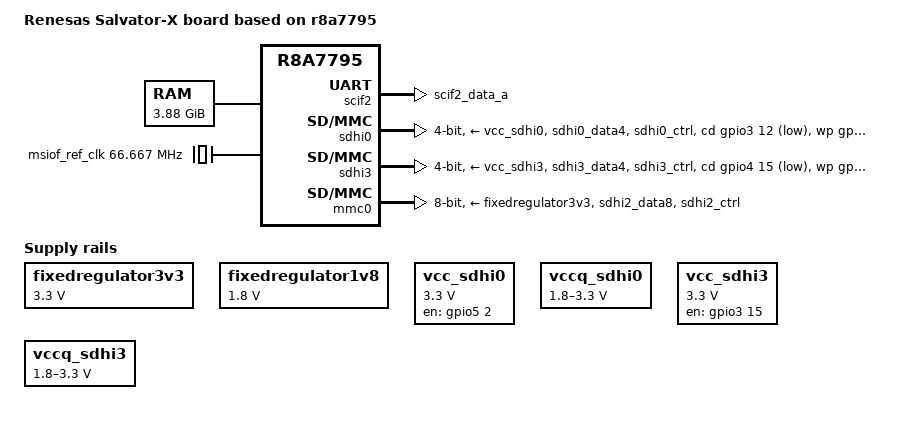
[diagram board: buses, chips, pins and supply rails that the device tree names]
/*
 * Device Tree Source for the Salvator-X board
 *
 * Copyright (C) 2015-2016 Renesas Electronics Corp.
 *
 * This file is licensed under the terms of the GNU General Public License
 * version 2.  This program is licensed "as is" without any warranty of any
 * kind, whether express or implied.
 */

/*
 * SSI-AK4613
 *
 * This command is required when Playback/Capture
 *
 *	amixer set "DVC Out" 100%
 *	amixer set "DVC In" 100%
 *
 * You can use Mute
 *
 *	amixer set "DVC Out Mute" on
 *	amixer set "DVC In Mute" on
 *
 * You can use Volume Ramp
 *
 *	amixer set "DVC Out Ramp Up Rate"   "0.125 dB/64 steps"
 *	amixer set "DVC Out Ramp Down Rate" "0.125 dB/512 steps"
 *	amixer set "DVC Out Ramp" on
 *	aplay xxx.wav &
 *	amixer set "DVC Out"  80%  // Volume Down
 *	amixer set "DVC Out" 100%  // Volume Up
 */

/dts-v1/;
#include "r8a7795.dtsi"
#include <dt-bindings/gpio/gpio.h>

/ {
	model = "Renesas Salvator-X board based on r8a7795";
	compatible = "renesas,salvator-x", "renesas,r8a7795";

	aliases {
		serial0 = &scif2;
	};

	chosen {
		bootargs = "dom0_mem=256M console=dtuart dtuart=serial0 dom0_max_vcpus=1 bootscrub=0 flask_enforcing=1";
		xen,dom0-bootargs = "console=hvc0 root=/dev/mmcblk1p1 rw rootwait rootfstype=ext4 ignore_loglevel";
		modules {
			#address-cells = <2>;
			#size-cells = <2>;
			module@1 {
				compatible = "xen,linux-zimage", "xen,multiboot-module";
				reg = <0x0 0x7a000000 0x0 0x02000000>;
			};
			module@2 {
				compatible = "xen,xsm-policy", "xen,multiboot-module";
				reg = <0x0 0x7c000000 0x0 0x10000>;
			};
		};
	};

	hypervisor {
		compatible = "xen,xen-4.6", "xen,xen";
		reg = <0x4b000000 0x20000 0x0 0x0>;
		interrupts = <1 15 0xf08>;
	};

	psci {
		compatible = "arm,psci-1.0";
		method = "smc";
		cpu_on = <2>;
	};

	soc{
		rst: rst@e6160000 {
			reg = <0 0xe6160000 0 0x1000>;
		};

		pll: pll@fff00000 {
			reg = <0 0xfff00000 0 0x1000>;
		};

		avs: avs@e60a0000 {
			reg = <0 0xe60a0000 0 0x1000>;
		};

		lossy: lossy@47fd7000 {
			reg = <0 0x47fd7000 0 0x1000>;
		};
	};

	memory@48000000 {
		device_type = "memory";
		/* first 128MB is reserved for secure area. */
		reg = <0x0 0x48000000 0x0 0x38000000>,
		      <0x5 0x00000000 0x0 0x40000000>,
		      <0x6 0x00000000 0x0 0x40000000>,
		      <0x7 0x00000000 0x0 0x40000000>;
	};

	fixedregulator3v3: regulator@0 {
		compatible = "regulator-fixed";
		regulator-name = "fixed-3.3V";
		regulator-min-microvolt = <3300000>;
		regulator-max-microvolt = <3300000>;
		regulator-boot-on;
		regulator-always-on;
	};

	fixedregulator1v8: regulator@1 {
		compatible = "regulator-fixed";
		regulator-name = "fixed-1.8V";
		regulator-min-microvolt = <1800000>;
		regulator-max-microvolt = <1800000>;
		regulator-boot-on;
		regulator-always-on;
	};

	vcc_sdhi0: regulator@2 {
		compatible = "regulator-fixed";

		regulator-name = "SDHI0 Vcc";
		regulator-min-microvolt = <3300000>;
		regulator-max-microvolt = <3300000>;

		gpio = <&gpio5 2 GPIO_ACTIVE_HIGH>;
		enable-active-high;
	};

	vccq_sdhi0: regulator@3 {
		compatible = "regulator-gpio";

		regulator-name = "SDHI0 VccQ";
		regulator-min-microvolt = <1800000>;
		regulator-max-microvolt = <3300000>;

		gpios = <&gpio5 1 GPIO_ACTIVE_HIGH>;
		gpios-states = <1>;
		states = <3300000 1
			  1800000 0>;
	};

	vcc_sdhi3: regulator@4 {
		compatible = "regulator-fixed";

		regulator-name = "SDHI3 Vcc";
		regulator-min-microvolt = <3300000>;
		regulator-max-microvolt = <3300000>;

		gpio = <&gpio3 15 GPIO_ACTIVE_HIGH>;
		enable-active-high;
	};

	vccq_sdhi3: regulator@5 {
		compatible = "regulator-gpio";

		regulator-name = "SDHI3 VccQ";
		regulator-min-microvolt = <1800000>;
		regulator-max-microvolt = <3300000>;

		gpios = <&gpio3 14 GPIO_ACTIVE_HIGH>;
		gpios-states = <1>;
		states = <3300000 1
			  1800000 0>;
	};
	msiof_ref_clk: msiof-ref-clock {
		compatible = "fixed-clock";
		#clock-cells = <0>;
		clock-frequency = <66666666>;
	};
};

&extal_clk {
	clock-frequency = <16666666>;
};

&extalr_clk {
	clock-frequency = <32768>;
};

&pfc {
	pinctrl-0 = <&scif_clk_pins>;
	pinctrl-names = "default";

	scif2_pins: scif2 {
		groups = "scif2_data_a";
		function = "scif2";
	};
	scif_clk_pins: scif_clk {
		groups = "scif_clk_a";
		function = "scif_clk";
	};

	sdhi0_pins_3v3: sd0_3v3 {
		groups = "sdhi0_data4", "sdhi0_ctrl";
		function = "sdhi0";
		power-source = <3300>;
	};

	sdhi0_pins_1v8: sd0_1v8 {
		groups = "sdhi0_data4", "sdhi0_ctrl";
		function = "sdhi0";
		power-source = <1800>;
	};

	sdhi3_pins_3v3: sd3_3v3 {
		groups = "sdhi3_data4", "sdhi3_ctrl";
		function = "sdhi3";
		power-source = <3300>;
	};

	sdhi3_pins_1v8: sd3_1v8 {
		groups = "sdhi3_data4", "sdhi3_ctrl";
		function = "sdhi3";
		power-source = <1800>;
	};

	mmc0_pins_1v8: mmc0_1v8 {
		groups = "sdhi2_data8", "sdhi2_ctrl";
		function = "sdhi2";
		power-source = <1800>;
	};
};

&scif2 {
	pinctrl-0 = <&scif2_pins>;
	pinctrl-names = "default";

	status = "okay";
};

&scif_clk {
	clock-frequency = <14745600>;
	status = "okay";
};


&sdhi0 {
	pinctrl-0 = <&sdhi0_pins_3v3>;
	pinctrl-1 = <&sdhi0_pins_1v8>;
	pinctrl-names = "default", "state_uhs";

	vmmc-supply = <&vcc_sdhi0>;
	vqmmc-supply = <&vccq_sdhi0>;
	cd-gpios = <&gpio3 12 GPIO_ACTIVE_LOW>;
	wp-gpios = <&gpio3 13 GPIO_ACTIVE_HIGH>;
	bus-width = <4>;
	status = "okay";
};

&sdhi3 {
	pinctrl-0 = <&sdhi3_pins_3v3>;
	pinctrl-1 = <&sdhi3_pins_1v8>;
	pinctrl-names = "default", "state_uhs";

	vmmc-supply = <&vcc_sdhi3>;
	vqmmc-supply = <&vccq_sdhi3>;
	cd-gpios = <&gpio4 15 GPIO_ACTIVE_LOW>;
	wp-gpios = <&gpio4 16 GPIO_ACTIVE_HIGH>;
	bus-width = <4>;
	status = "okay";
};

&mmc0 {
	pinctrl-0 = <&mmc0_pins_1v8>;
	pinctrl-1 = <&mmc0_pins_1v8>;
	pinctrl-names = "default", "state_uhs";

	vmmc-supply = <&fixedregulator3v3>;
	vqmmc-supply = <&fixedregulator1v8>;
	bus-width = <8>;
	status = "okay";
};

&gic {
	reg = <0x0 0xf1010000 0 0x1000>,
	      <0x0 0xf1020000 0 0x20000>,
	      <0x0 0xf1040000 0 0x20000>,
	      <0x0 0xf1060000 0 0x20000>;
};

&a57_0 {
	cpu-supply = <>;
};

&a53_0 {
	enable-method = "";
};

&a53_1 {
	enable-method = "";
};

&a53_2 {
	enable-method = "";
};

&a53_3 {
	enable-method = "";
};

&tsc3 {
	status = "disabled";
};

&du {
	clocks = <>;
};

&audma0 {
	status = "disabled";
};

&audma1 {
	status = "disabled";
};

&dmac0 {
	status = "disabled";
};

&dmac1 {
	status = "disabled";
};

&dmac2 {
	status = "disabled";
};

&gpio0 {
	status = "disabled";
};

&gpio1 {
	status = "disabled";
};

&gpio2 {
	status = "disabled";
};

&gpio6 {
	status = "disabled";
};

&gpio7 {
	status = "disabled";
};

&vspd0 {
	status = "disabled";
};

&vspd1 {
	status = "disabled";
};

&vspd2 {
	status = "disabled";
};

&vspd3 {
	status = "disabled";
};

&tsc1 {
	status = "disabled";
};

&tsc2 {
	status = "disabled";
};

&usb_dmac0 {
	status = "disabled";
};

&usb_dmac1 {
	status = "disabled";
};
